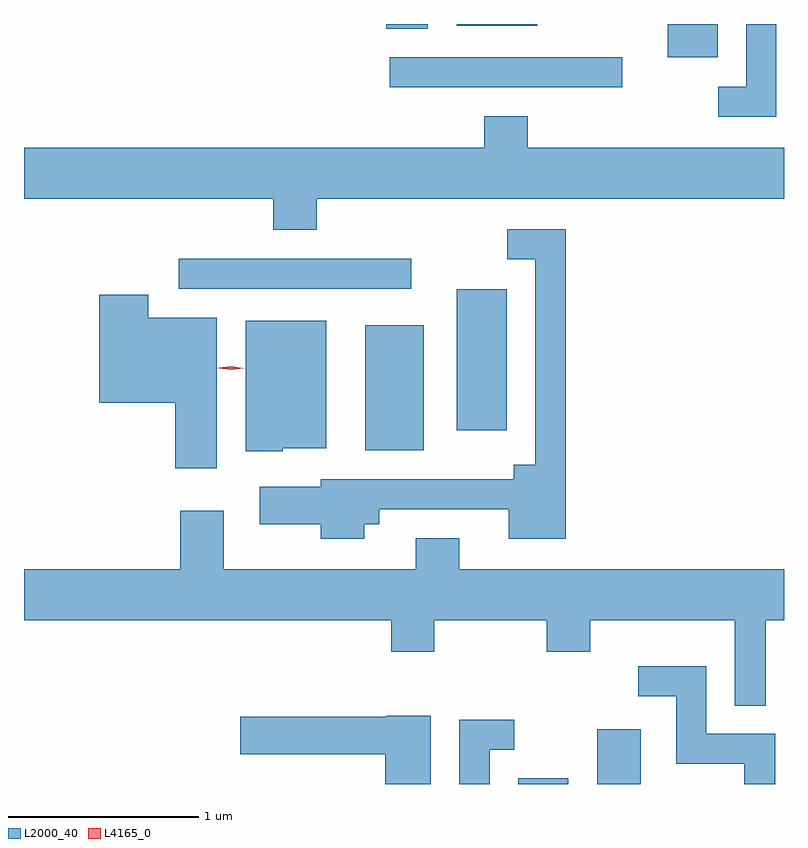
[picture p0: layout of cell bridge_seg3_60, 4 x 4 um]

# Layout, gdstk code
import gdstk
lib = gdstk.Library(unit=1e-6, precision=1e-09)
def R(c, l, rs):  # rectangles x0, y0, x1, y1
    for r in rs: c.add(gdstk.rectangle(r[:2], r[2:], *l))
def P(c, l, *ps):  # polygons
    for p in ps: c.add(gdstk.Polygon(p, *l))
L2000_40 = (2000, 40)
L4165_0 = (4165, 0)

bridge_seg3_60 = lib.new_cell('bridge_seg3_60')
R(bridge_seg3_60, L2000_40, [(1197.971,1216.175,1198.234,1216.204), (1198.386,1216.175,1198.614,1216.464), (1197.166,1217.931,1197.474,1218.589), (1197.646,1218.036,1197.909,1218.779), (1196.183,1218.781,1197.408,1218.939), (1197.293,1219.841,1198.518,1219.999), (1198.756,1220.001,1199.019,1220.175), (1197.276,1220.151,1197.494,1220.175), (1197.646,1220.166,1198.069,1220.175)])
P(bridge_seg3_60, L2000_40, [(1199.329,1220.175),(1199.171,1220.175),(1199.171,1219.844),(1199.023,1219.844),(1199.023,1219.686),(1199.329,1219.686)],
  [(1196.909,1219.256),(1199.369,1219.256),(1199.369,1219.524),(1198.019,1219.524),(1198.019,1219.689),(1197.791,1219.689),(1197.791,1219.524),(1195.369,1219.524),(1195.369,1219.256),(1196.681,1219.256),(1196.681,1219.091),(1196.909,1219.091)],
  [(1197.159,1217.541),(1197.239,1217.541),(1197.239,1217.621),(1197.921,1217.621),(1197.921,1217.466),(1198.219,1217.466),(1198.219,1219.094),(1197.913,1219.094),(1197.913,1218.936),(1198.061,1218.936),(1198.061,1217.854),(1197.946,1217.854),(1197.946,1217.779),(1196.931,1217.779),(1196.931,1217.739),(1196.611,1217.739),(1196.611,1217.541),(1196.931,1217.541),(1196.931,1217.466),(1197.159,1217.466)],
  [(1196.384,1218.629),(1196.024,1218.629),(1196.024,1218.749),(1195.766,1218.749),(1195.766,1218.181),(1196.166,1218.181),(1196.166,1217.836),(1196.384,1217.836)],
  [(1196.73,1217.941),(1196.959,1217.941),(1196.959,1218.614),(1196.536,1218.614),(1196.536,1217.926),(1196.73,1217.926)],
  [(1197.659,1217.469),(1197.431,1217.469),(1197.431,1217.304),(1196.419,1217.304),(1196.419,1217.614),(1196.191,1217.614),(1196.191,1217.304),(1195.369,1217.304),(1195.369,1217.036),(1197.301,1217.036),(1197.301,1216.871),(1197.529,1216.871),(1197.529,1217.036),(1198.121,1217.036),(1198.121,1216.871),(1198.349,1216.871),(1198.349,1217.036),(1199.111,1217.036),(1199.111,1216.588),(1199.274,1216.588),(1199.274,1217.036),(1199.369,1217.036),(1199.369,1217.304),(1197.659,1217.304)],
  [(1199.324,1216.439),(1198.959,1216.439),(1198.959,1216.794),(1198.603,1216.794),(1198.603,1216.636),(1198.801,1216.636),(1198.801,1216.281),(1199.161,1216.281),(1199.161,1216.175),(1199.324,1216.175)],
  [(1197.509,1216.534),(1197.275,1216.534),(1197.275,1216.529),(1196.506,1216.529),(1196.506,1216.331),(1197.271,1216.331),(1197.271,1216.175),(1197.509,1216.175)],
  [(1197.819,1216.356),(1197.948,1216.356),(1197.948,1216.514),(1197.661,1216.514),(1197.661,1216.175),(1197.819,1216.175)])
P(bridge_seg3_60, L4165_0, [(1196.46,1218.354),(1196.394,1218.364),(1196.393,1218.364),(1196.394,1218.365),(1196.46,1218.374),(1196.526,1218.364),(1196.526,1218.364),(1196.526,1218.363)])

lib.write_gds('bridge_seg3_60.gds')
